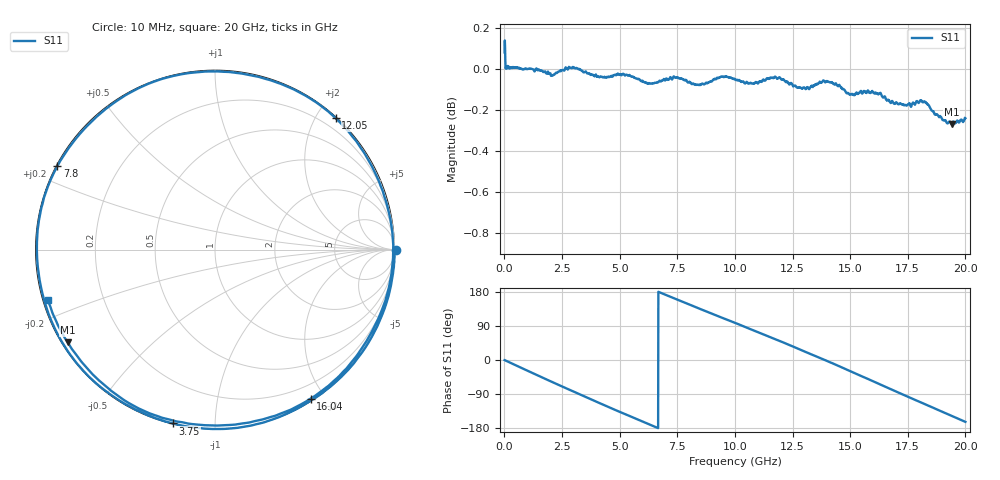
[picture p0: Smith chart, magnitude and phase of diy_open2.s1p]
#  HZ  S  DB  R  50.00
! Rohde & Schwarz Vector Network Analyzer
! Rohde-Schwarz,ZNA26-4Port,1332450024101475,2.90
! Created: UTC 5/21/2025, 7:06:31 PM
! freq[Hz]  db:S11  ang:S11
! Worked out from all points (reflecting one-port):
!   2000 points, 10 MHz to 20 GHz, reference 50 ohm
!   lowest |S11| = -0.3 dB at 19.41 GHz (marker M1), VSWR 64.86, Z = 0.835 - j14.4 ohm
!   phase of S11 starts at -0 deg and turns -523 deg over the sweep
!   S11 on the Smith chart (normalised r, x): 10 MHz: open; 3.75 GHz: 0.00, -0.79; 7.8 GHz: 0.00, +0.25; 12.05 GHz: 0.02, +2.28; 16.04 GHz: 0.03, -1.83; 20 GHz: 0.01, -0.15
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1e7  0.08 -0.2
5.8e8  0.00 -16.3
1.15e9  0.00 -32.4
1.81e9  -0.02 -50.8
2.51e9  -0.01 -70.0
3.12e9  0.00 -86.6
3.75e9  -0.03 -103.5
5.01e9  -0.03 -137.0
5.65e9  -0.04 -153.4
6.26e9  -0.07 -169.3
6.88e9  -0.06 174.9
7.51e9  -0.04 159.2
7.8e9  -0.05 152.0
8.99e9  -0.06 122.4
1.001e10  -0.05 97.9
1.101e10  -0.07 73.1
1.205e10  -0.05 47.4
1.251e10  -0.08 35.8
1.318e10  -0.09 18.5
1.38e10  -0.06 2.4
1.443e10  -0.08 -13.8
1.501e10  -0.13 -29.7
1.604e10  -0.12 -57.2
1.676e10  -0.17 -77.0
1.751e10  -0.17 -97.1
1.837e10  -0.17 -120.0
1.941e10  -0.27 -147.8
2e10  -0.24 -163.3
